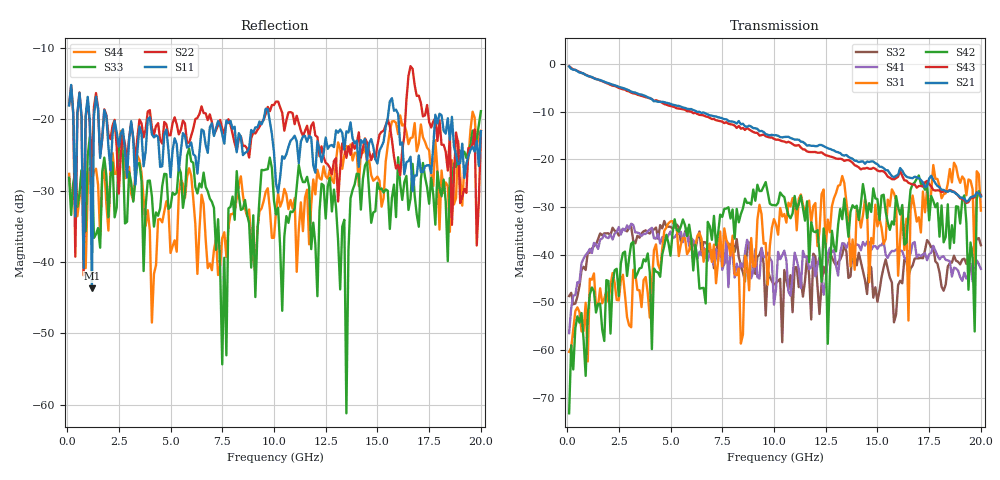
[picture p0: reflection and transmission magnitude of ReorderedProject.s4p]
! File created by SignalIntegrity v1.4.2: Signal and Power Integrity Tools
! https://github.com/Nubis-Communications/SignalIntegrity
# MHz S MA R 50.0
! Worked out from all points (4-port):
!   200 points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, 100 MHz to 20 GHz, reference 50 ohm
!   strongest paths, dB at 100 MHz, 5.1 GHz, 10.1 GHz, 15.1 GHz, 20 GHz:
!     S21: -0.5, -8.5, -14.9, -21.5, -27.8
!     S43: -0.4, -8.9, -15.9, -22.5, -27.5
!     S42: -73.3, -35.4, -29.7, -32.7, -27.7
!     S31: -60.4, -32.9, -33.7, -32.5, -30.7
!     S41: -56.4, -36.5, -47.2, -38.1, -43.0
!     S32: -48.7, -34.5, -45.9, -47.5, -38.0
!   lowest |S11| = -43.7 dB at 1.2 GHz (marker M1), VSWR 1.01, Z = 50.5 - j0.458 ohm
!   |S11| at or under -10 dB: start of sweep to end of sweep
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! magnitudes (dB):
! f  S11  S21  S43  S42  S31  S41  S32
! 100 MHz  -18.0  -0.5  -0.4  -73.3  -60.4  -56.4  -48.7
! 1.2 GHz  -43.7  -2.7  -2.8  -46.9  -45.2  -39.6  -38.7
! 12.7 GHz  -23.7  -17.8  -19.4  -44.4  -35.3  -38.6  -39.5
! 13.5 GHz  -21.7  -19.1  -20.2  -31.9  -29.0  -38.6  -39.3
! 14 GHz  -23.0  -20.3  -21.4  -29.7  -30.1  -37.8  -42.2
! 19.7 GHz  -24.5  -27.7  -27.9  -56.1  -42.0  -43.4  -37.7
! 20 GHz  -21.7  -27.8  -27.5  -27.7  -30.7  -43.0  -38.0
